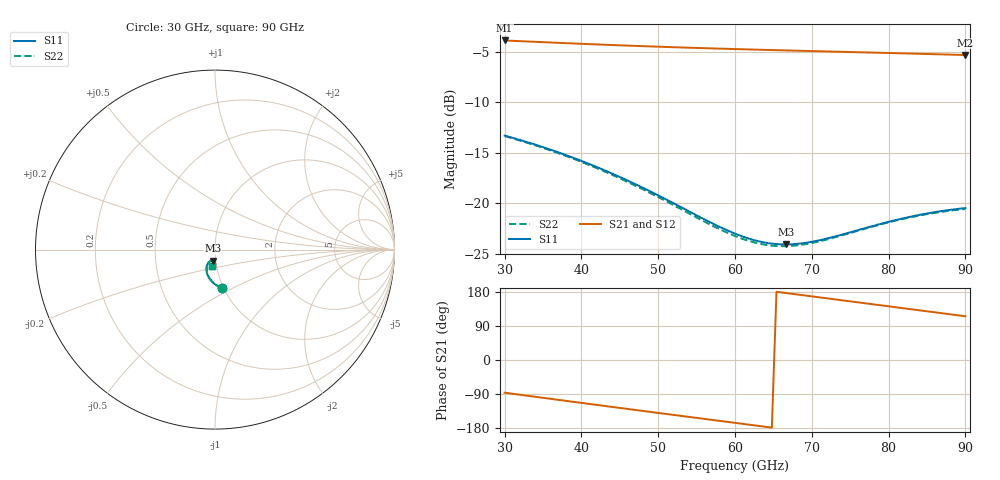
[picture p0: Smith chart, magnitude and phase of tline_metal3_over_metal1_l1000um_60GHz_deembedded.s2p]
! Created with skrf 2.2.0 (http://scikit-rf.org).
# GHz S DB R 50.0
! Port[1] = P1
! Port[2] = P2
!freq dBS11 angS11 dBS21 angS21 dBS12 angS12 dBS22 angS22
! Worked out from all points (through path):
!   101 points, 30 GHz to 90 GHz, reference 50 ohm
!   highest |S21| = -3.86 dB at 30 GHz (marker M1); lowest = -5.3 dB at 90 GHz (marker M2)
!   group delay of S21, straight-line fit = 7.31 ps
!   lowest |S11| = -24.1 dB at 66.6 GHz (marker M3), VSWR 1.13, Z = 48.5 - j5.98 ohm
!   |S11| at or under -10 dB: start of sweep to end of sweep
!   |S22| runs from -24.2 to -13.3 dB; largest |S21 - S12| = 7.1e-14
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30  -13.29 -80.1  -3.86 -86.2  -3.86 -86.2  -13.34 -80.0
32.4  -13.81 -85.7  -3.94 -92.8  -3.94 -92.8  -13.87 -85.6
34.8  -14.38 -91.0  -4.02 -99.3  -4.02 -99.3  -14.45 -90.9
37.2  -15.00 -96.1  -4.10 -105.7  -4.10 -105.7  -15.08 -96.0
40.2  -15.85 -101.9  -4.19 -113.7  -4.19 -113.7  -15.95 -101.8
42.6  -16.59 -106.1  -4.27 -120.1  -4.27 -120.1  -16.71 -105.9
45.6  -17.59 -110.6  -4.36 -128.1  -4.36 -128.1  -17.73 -110.5
50.4  -19.37 -115.8  -4.48 -140.7  -4.48 -140.7  -19.54 -115.4
52.8  -20.31 -117.0  -4.55 -147.0  -4.55 -147.0  -20.51 -116.6
55.2  -21.27 -117.1  -4.60 -153.3  -4.60 -153.3  -21.48 -116.5
57.6  -22.19 -115.8  -4.66 -159.6  -4.66 -159.6  -22.42 -115.0
60  -23.00 -113.2  -4.71 -165.9  -4.71 -165.9  -23.24 -112.1
61.8  -23.49 -110.3  -4.75 -170.6  -4.75 -170.6  -23.72 -109.1
63.6  -23.85 -106.9  -4.78 -175.3  -4.78 -175.3  -24.06 -105.5
66.6  -24.07 -100.9  -4.84 176.9  -4.84 176.9  -24.24 -99.3
68.4  -23.99 -97.6  -4.88 172.1  -4.88 172.1  -24.13 -95.9
70.2  -23.78 -94.8  -4.91 167.4  -4.91 167.4  -23.90 -93.1
75  -22.87 -90.8  -5.00 154.8  -5.00 154.8  -22.94 -89.4
77.4  -22.36 -90.6  -5.05 148.5  -5.05 148.5  -22.42 -89.3
80.4  -21.76 -91.7  -5.11 140.6  -5.11 140.6  -21.81 -90.7
85.2  -20.98 -95.8  -5.20 128.0  -5.20 128.0  -21.05 -94.9
90  -20.47 -101.4  -5.30 115.4  -5.30 115.4  -20.56 -100.8
